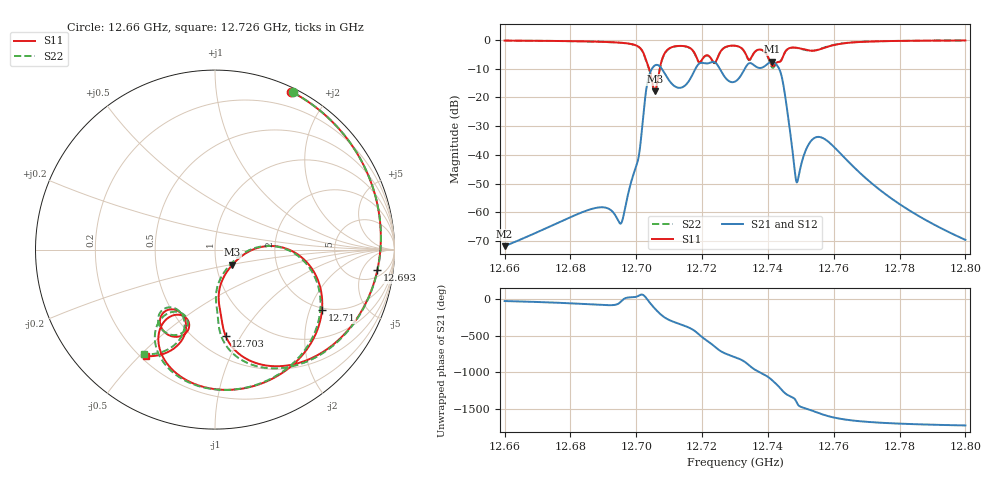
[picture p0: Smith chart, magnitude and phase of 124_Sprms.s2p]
! TOUCHSTONE file generated by CST MICROWAVE STUDIO
! Date and time: Wed Jul 31 17:03:03 2024
! Project name: WaveGuide_BPF-Ver4.1_U-shape_Ku_T3_C4_CWA_2.cst
! Parameters = {cavity_h=16; cavity_l0=10; cavity_l1=15.2225; cavity_l2=16.8166; cavity_l3=17.1429; cavity_l4=17.2754; cavity_l5=17.1395; cavity_l6=17.6234; cavity_r=2.5; cavity_screw_l=0.5; cavity_screw_r=1.5; cavity_w=8; iris_h00=0; iris_h01=8.8228; iris_h112=0; iris_h12=5.6089; iris_h211=3.6639; 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
! Header version: 2018
! Port assignment regex: !\s*Touchstone port\s*([0-9]+)\s*=\s*(CST MWS port|CST DS port)\s*([0-9]+|Zmin|Zmax)\s*\(\"(.*)\"\)(\s*mode\s*([0-9]+))?.*
! Touchstone port assignment:
! Touchstone port 1 = CST MWS port 1 ("")
! Touchstone port 2 = CST MWS port 2 ("")
# GHz S RI R 50
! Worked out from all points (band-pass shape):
!   5001 points, 12.66 GHz to 12.8 GHz, reference 50 ohm
!   highest |S21| = -7.56 dB at 12.741 GHz (marker M1); lowest = -71.8 dB at 12.66 GHz (marker M2)
!   |S21| within 3 dB of the highest: 12.71774 GHz to 12.72564 GHz (7.898 MHz wide, 0.0621 % of centre); 12.73271 GHz to 12.74361 GHz (10.9 MHz wide, 0.0856 % of centre) (the widest 2 of 3)
!   lowest |S11| = -17.8 dB at 12.706 GHz (marker M3), VSWR 1.29, Z = 59.8 - j10.2 ohm
!   |S11| at or under -10 dB: 12.70391 GHz to 12.70712 GHz (3.206 MHz wide, 0.0252 % of centre)
!   |S22| runs from -18.5 to -0.2 dB; largest |S21 - S12| = 1e-09
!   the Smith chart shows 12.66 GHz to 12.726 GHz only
!   S11 on the Smith chart (normalised r, x): 12.66 GHz: 0.04, +1.59; 12.693 GHz: 8, -10; 12.703 GHz: 0.69, -0.86; 12.71 GHz: 1.92, -2.44; 12.726 GHz: 0.22, -0.52
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12.66  0.4259 0.8798  0.000222 -0.000128  0.000222 -0.000128  0.4345 0.8755
12.68335  0.852 0.4186  0.000366 -0.000917  0.000366 -0.000917  0.8589 0.403
12.6934  0.9043 -0.1153  0.000119 -0.000918  0.000119 -0.000918  0.8995 -0.1404
12.69604  0.8335 -0.3115  0.000816 -0.000102  0.000816 -0.000102  0.8214 -0.3378
12.70063  0.4222 -0.6425  0.00651 0.00562  0.00651 0.00562  0.3896 -0.6577
12.70276  0.0593 -0.4809  0.0935 0.0463  0.0935 0.0463  0.0318 -0.4735
12.70564  0.097 -0.0841  -0.2424 -0.2666  -0.2424 -0.2666  0.0856 -0.0826
12.70668  0.2313 0.00764  -0.364 0.00386  -0.364 0.00386  0.2203 0.00822
12.70959  0.596 -0.3369  0.0331 0.2105  0.0331 0.2105  0.586 -0.3454
12.71401  0.1236 -0.7783  0.1502 0.00881  0.1502 0.00881  0.0966 -0.7802
12.72062  -0.181 -0.4779  -0.3932 0.0229  -0.3932 0.0229  -0.191 -0.4686
12.72331  -0.2545 -0.3339  0.00577 0.4148  0.00577 0.4148  -0.2622 -0.3225
12.72636  -0.3826 -0.594  0.2479 -0.0467  0.2479 -0.0467  -0.3969 -0.583
12.73  -0.744 -0.2809  0.0483 -0.1825  0.0483 -0.1825  -0.7513 -0.2583
12.7344  -0.453 -0.0151  -0.3893 0.0705  -0.3893 0.0705  -0.4462 -0.00239
12.7412  -0.3064 0.1873  0.3744 -0.1875  0.3744 -0.1875  -0.2833 0.1837
12.74436  -0.4731 0.0828  -0.2047 -0.0376  -0.2047 -0.0376  -0.4768 0.0912
12.7487  -0.2534 0.688  0.00284 0.00176  0.00284 0.00176  -0.217 0.6936
12.75335  0.6178 0.2057  0.00209 -0.018  0.00209 -0.018  0.6329 0.1455
12.75982  -0.0571 -0.81  -0.0142 -0.000993  -0.0142 -0.000993  -0.1018 -0.8121
12.77668  -0.9461 -0.158  -0.000487 0.00181  -0.000487 0.00181  -0.9493 -0.1427
12.8  -0.9254 0.3304  9.27e-05 0.000316  9.27e-05 0.000316  -0.9223 0.3395
